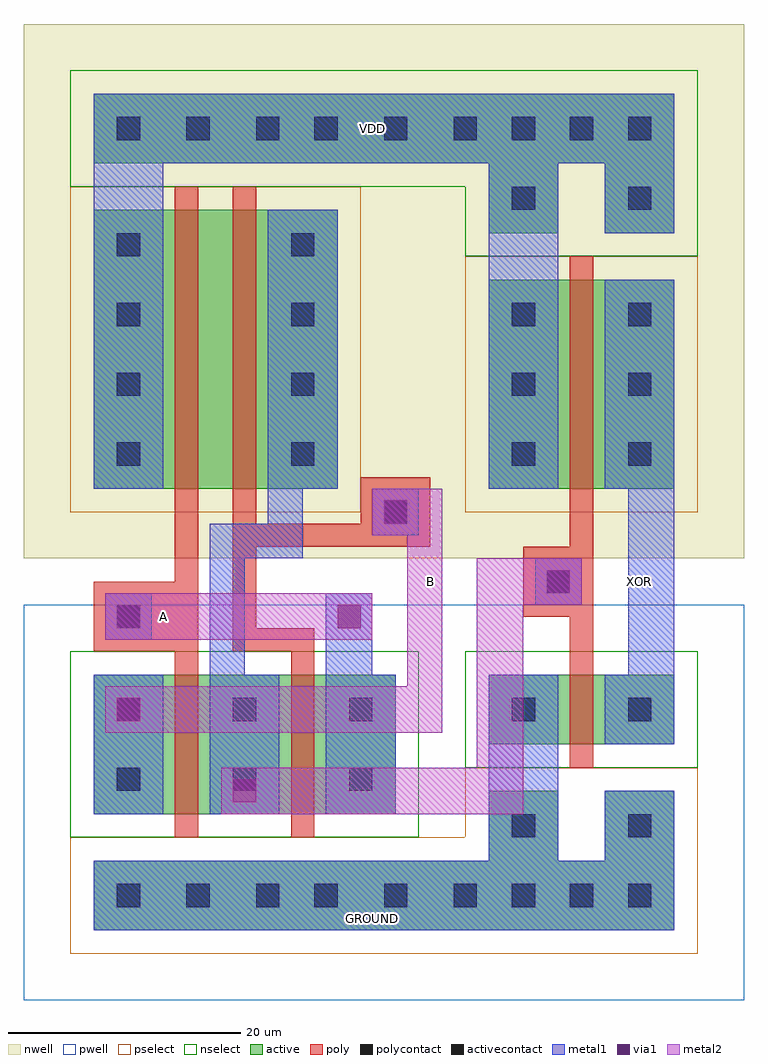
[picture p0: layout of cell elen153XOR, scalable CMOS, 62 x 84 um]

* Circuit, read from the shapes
.subckt elen153XOR A B GROUND VDD XOR
M1 n1 A B GROUND nfet w=12u l=2u
M2 A B n1 GROUND nfet w=12u l=2u
M3 XOR n1 GROUND GROUND nfet w=6u l=2u
M4 n2 A VDD VDD pfet w=24u l=2u
M5 n1 B n2 VDD pfet w=24u l=2u
M6 XOR n1 VDD VDD pfet w=18u l=2u
.ends

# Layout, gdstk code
import gdstk
lib = gdstk.Library(unit=1e-6, precision=1e-09)
def R(c, l, rs):  # rectangles x0, y0, x1, y1
    for r in rs: c.add(gdstk.rectangle(r[:2], r[2:], *l))
def A(c, l, x, y, w, h, nx, ny, dx, dy):  # array of equal rectangles
    R(c, l, [(x+i*dx, y+j*dy, x+i*dx+w, y+j*dy+h) for i in range(nx) for j in range(ny)])
def P(c, l, *ps):  # polygons
    for p in ps: c.add(gdstk.Polygon(p, *l))
pwell = (41, 0)
nwell = (42, 0)
active = (43, 0)
pselect = (44, 0)
nselect = (45, 0)
poly = (46, 0)
polycontact = (47, 0)
activecontact = (48, 0)
metal1 = (49, 0)
via1 = (50, 0)
metal2 = (51, 0)

elen153xor = lib.new_cell('elen153XOR')
R(elen153xor, pwell, [(-26,-58,36,-24)])
R(elen153xor, nwell, [(-26,-20,36,26)])
R(elen153xor, active, [(-20,-42,6,-30), (14,-36,30,-30), (-20,-14,1,10), (14,-14,30,4)])
P(elen153xor, active, [(-20,14),(14,14),(14,8),(20,8),(20,14),(24,14),(24,8),(30,8),(30,20),(-20,20)],
  [(-20,-52),(30,-52),(30,-40),(24,-40),(24,-46),(20,-46),(20,-40),(14,-40),(14,-46),(-20,-46)])
R(elen153xor, pselect, [(-22,-16,3,12), (12,-16,32,6)])
P(elen153xor, pselect, [(-22,-54),(32,-54),(32,-38),(12,-38),(12,-44),(-22,-44)])
R(elen153xor, nselect, [(-22,-44,8,-28), (12,-38,32,-28)])
P(elen153xor, nselect, [(-22,12),(12,12),(12,6),(32,6),(32,22),(-22,22)])
P(elen153xor, poly, [(17,-25),(21,-25),(21,-38),(23,-38),(23,6),(21,6),(21,-19),(17,-19)],
  [(-8,-28),(-3,-28),(-3,-44),(-1,-44),(-1,-26),(-6,-26),(-6,-19),(9,-19),(9,-13),(3,-13),(3,-17),(-6,-17),(-6,12),(-8,12)],
  [(-20,-28),(-13,-28),(-13,-44),(-11,-44),(-11,12),(-13,12),(-13,-22),(-20,-22)])
R(elen153xor, polycontact, [(-18,-26,-16,-24), (19,-23,21,-21), (5,-17,7,-15)])
A(elen153xor, activecontact, -18, -50, 2, 2, 3, 2, 6, 66)
A(elen153xor, activecontact, -1, -50, 2, 2, 3, 2, 6, 66)
A(elen153xor, activecontact, 16, -50, 2, 2, 3, 2, 5, 66)
A(elen153xor, activecontact, -18, -40, 2, 2, 3, 2, 10, 6)
A(elen153xor, activecontact, -18, -12, 2, 2, 1, 4, 0, 6)
A(elen153xor, activecontact, -3, -12, 2, 2, 1, 4, 0, 6)
A(elen153xor, activecontact, 16, -12, 2, 2, 1, 3, 0, 6)
A(elen153xor, activecontact, 26, -12, 2, 2, 1, 3, 0, 6)
R(elen153xor, activecontact, [(16,-44,18,-42), (26,-44,28,-42), (16,-34,18,-32), (26,-34,28,-32), (16,10,18,12), (26,10,28,12)])
R(elen153xor, metal1, [(-20,-42,-14,-30), (-19,-27,-15,-23), (18,-24,22,-20), (4,-18,8,-14), (-5,-14,1,10)])
P(elen153xor, metal1, [(24,-36),(30,-36),(30,4),(24,4),(24,-14),(26,-14),(26,-30),(24,-30)],
  [(-20,-14),(-14,-14),(-14,14),(14,14),(14,-14),(20,-14),(20,14),(24,14),(24,8),(30,8),(30,20),(-20,20)],
  [(-20,-52),(30,-52),(30,-40),(24,-40),(24,-46),(20,-46),(20,-30),(14,-30),(14,-46),(-20,-46)],
  [(-10,-42),(-4,-42),(-4,-30),(-7,-30),(-7,-20),(-2,-20),(-2,-14),(-5,-14),(-5,-17),(-10,-17)],
  [(0,-42),(6,-42),(6,-30),(4,-30),(4,-23),(0,-23)])
R(elen153xor, via1, [(-8,-41,-6,-39), (-18,-34,-16,-32), (-18,-26,-16,-24), (1,-26,3,-24), (19,-23,21,-21), (5,-17,7,-15)])
R(elen153xor, metal2, [(-19,-27,4,-23)])
P(elen153xor, metal2, [(-19,-35),(10,-35),(10,-14),(4,-14),(4,-18),(7,-18),(7,-31),(-19,-31)],
  [(-9,-42),(17,-42),(17,-24),(22,-24),(22,-20),(13,-20),(13,-38),(-9,-38)])
elen153xor.add(gdstk.Label('A', (-14,-25), layer=3, texttype=0))
elen153xor.add(gdstk.Label('B', (9,-22), layer=3, texttype=0))
elen153xor.add(gdstk.Label('VDD', (4,17), layer=2, texttype=0))
elen153xor.add(gdstk.Label('GROUND', (4,-51), layer=2, texttype=0))
elen153xor.add(gdstk.Label('XOR', (27,-22), layer=2, texttype=0))

lib.write_gds('elen153XOR.gds')
